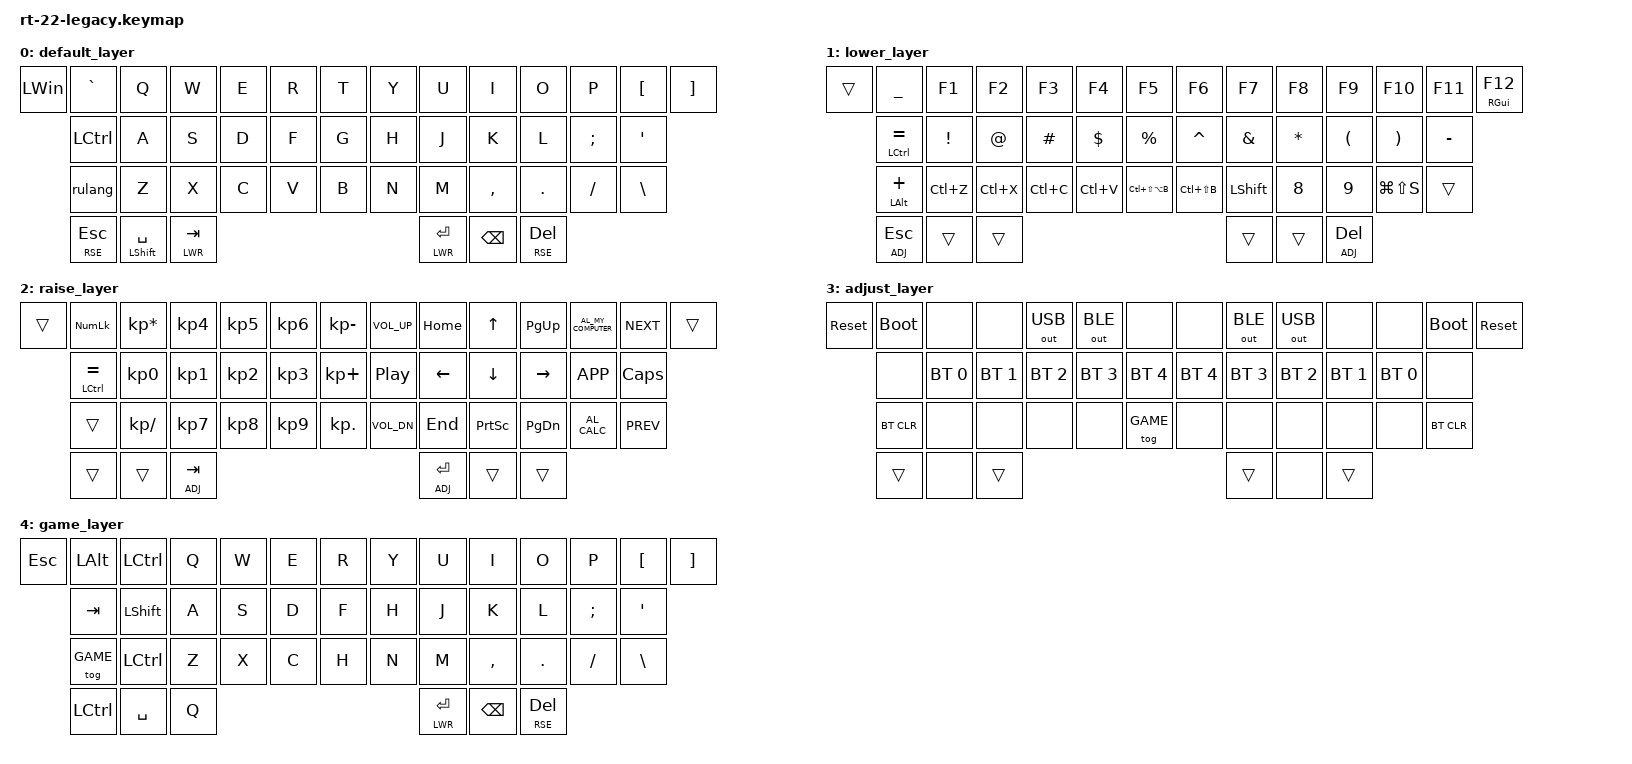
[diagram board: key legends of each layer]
/*
 * Copyright (c) 2021 The ZMK Contributors
 *
 * SPDX-License-Identifier: MIT
 */

#include <behaviors.dtsi>
#include <dt-bindings/zmk/keys.h>
#include <dt-bindings/zmk/bt.h>
#include <dt-bindings/zmk/outputs.h>

#define DEF 0
#define LWR 1
#define RSE 2
#define ADJ 3
#define GAME 4

&lt { quick_tap_ms = <200>; };
&mt { quick_tap_ms = <200>; };

/ {
        behaviors {
                rulang: russian_language {
                compatible = "zmk,behavior-mod-morph";
                label = "RUS_LANG";
                #binding-cells = <0>;
                bindings = <&kp LALT>, <&kp LC(N1)>;
                mods = <(LSHIFT|RSHIFT)>;
                keep-mods = <(LSHIFT|RSHIFT)>;
                };
        };
        combos {
                compatible = "zmk,combos";
                combo_eng {
                    timeout-ms = <200>;
                    key-positions = <37 42>;
                    layers = <DEF>;
                    bindings = <&kp LC(LS(N2))>;
                };
        };
        keymap {
                compatible = "zmk,keymap";

                default_layer {
// -----------------------------------------------------------------------------------------
// |  GUI |   ~  |  Q  |  W  |  E  |  R  |  T  |   |  Y  |  U   |  I  |  O  |  P  |  [   |  ]  |
//        | CTRL |  A  |  S  |  D  |  F  |  G  |   |  H  |  J   |  K  |  L  |  ;  |  '   |
//        | LALT |  Z  |  X  |  C  |  V  |  B  |   |  N  |  M   |  ,  |  .  |  /  | \ |
//                    | ESC | SPC | TAB |   | ENT | BSPC | DEL |
                        bindings = <
   &kp LWIN &kp GRAVE &kp Q &kp W &kp E &kp R &kp T         &kp Y &kp U  &kp I     &kp O   &kp P    &kp LBKT  &kp RBKT
            &kp LCTRL &kp A &kp S &kp D &kp F &kp G         &kp H &kp J  &kp K     &kp L   &kp SEMI &kp SQT
            &rulang   &kp Z &kp X &kp C &kp V &kp B         &kp N &kp M  &kp COMMA &kp DOT &kp FSLH &kp BSLH
            &lt RSE ESC &mt LSHFT SPACE &lt LWR TAB         &lt LWR RET &kp BSPC &lt RSE DEL
                        >;
                };
                lower_layer {
// -----------------------------------------------------------------------------------------
// |     |  _  |  F1 |  F2 |  F3 |  F4 |  F5 |   |  F6 |  F7 |  F8 |  F9 | F10  | F11 | F12 |
//       |  =  |  !  |  @  |  #  |  $  |  %  |   |  ^  |  &  |  *  |  (  |  )   |  -  |
//       |  +  |     |     |     |     |  RD |   |  RD |SHIFT|     |     |SCREEN|     |
//                   | GUI |     | SPC |         | ENT |     | ALT |
                       bindings = <
   &trans &kp UNDER       &kp F1    &kp F2    &kp F3      &kp F4    &kp F5               &kp F6        &kp F7    &kp F8   &kp F9   &kp F10       &kp F11   &mt RGUI F12
          &mt LCTRL EQUAL &kp EXCL  &kp AT    &kp HASH    &kp DLLR  &kp PRCNT            &kp CARET     &kp AMPS  &kp STAR &kp LPAR &kp RPAR      &kp MINUS
          &mt LALT PLUS   &kp LC(Z) &kp LC(X) &kp LC(C)   &kp LC(V) &kp LC(LS(LA(B)))    &kp LC(LS(B)) &kp LSHFT &kp N8   &kp N9   &kp LG(LS(S)) &trans
                                              &lt ADJ ESC &trans    &trans               &trans        &trans    &lt ADJ DEL
                       >;
                };
                raise_layer {
// -----------------------------------------------------------------------------------------
// |     | NMLK |  *  |  4  |  5  |  6  |  -  |   | VOLU| HOME| UP  | PGUP |MYCOMP| NEXT |     |
//       |   =  |  0  |  1  |  2  |  3  |  +  |   |PAUSE| LEFT| DOWN| RGHT | APP  | CAPS |
//       |      |  /  |  7  |  8  |  9  |  .  |   | VOLD| END | PRSC| PGDN | CALC | PREV |
//                          |     |     | ADJ |   | ADJ |     |     |
                        bindings = <       
   &trans &kp KP_NUM      &kp KP_MULTIPLY &kp KP_N4 &kp KP_N5 &kp KP_N6 &kp KP_MINUS        &kp C_VOL_UP &kp HOME &kp UP    &kp PG_UP &kp C_AL_MY_COMPUTER &kp C_NEXT &trans
          &mt LCTRL EQUAL &kp KP_N0       &kp KP_N1 &kp KP_N2 &kp KP_N3 &kp KP_PLUS         &kp C_PP     &kp LEFT &kp DOWN  &kp RIGHT &kp K_APP            &kp CAPS
          &trans          &kp KP_SLASH    &kp KP_N7 &kp KP_N8 &kp KP_N9 &kp KP_DOT          &kp C_VOL_DN &kp END  &kp PSCRN &kp PG_DN &kp C_AL_CALC        &kp C_PREV
                                                    &trans    &trans    &lt ADJ TAB         &lt ADJ RET  &trans   &trans
                        >;
                };
                adjust_layer {
// -----------------------------------------------------------------------------------------
// | RST | BLDR |     |     | USB | BLE |     |   |     | BLE | USB |     |     | BLDR | RST |
//       |      | BT0 | BT1 | BT2 | BT3 | BT4 |   | BT4 | BT3 | BT2 | BT1 | BT0 |      |
//       | BTCLR|     |     |     |     |     |   |     |     |     |     |     | BTCLR|
//                          |     |     |     |   |     |     |     |
                        bindings = <              
   &sys_reset &bootloader  &none        &none        &out OUT_USB &out OUT_BLE &none           &none        &out OUT_BLE &out OUT_USB &none        &none         &bootloader &sys_reset
          &none        &bt BT_SEL 0 &bt BT_SEL 1 &bt BT_SEL 2 &bt BT_SEL 3 &bt BT_SEL 4    &bt BT_SEL 4 &bt BT_SEL 3 &bt BT_SEL 2 &bt BT_SEL 1 &bt BT_SEL 0  &none
          &bt BT_CLR   &none        &none        &none        &none        &tog GAME       &none        &none        &none        &none        &none         &bt BT_CLR
                                                 &trans       &none        &trans          &trans       &none        &trans
                        >;
                };
                game_layer {
// -----------------------------------------------------------------------------------------
// |  GUI |   ~  |  Q  |  W  |  E  |  R  |  T  |   |  Y  |  U   |  I  |  O  |  P  |  [   |  ]  |
//        | CTRL |  A  |  S  |  D  |  F  |  G  |   |  H  |  J   |  K  |  L  |  ;  |  '   |
//        | LALT |  Z  |  X  |  C  |  V  |  B  |   |  N  |  M   |  ,  |  .  |  /  | \ |
//                    | ESC | SPC | TAB |   | ENT | BSPC | DEL |
                        bindings = <
   &kp ESC  &kp LALT  &kp LCTRL &kp Q &kp W &kp E &kp R         &kp Y &kp U  &kp I     &kp O   &kp P    &kp LBKT  &kp RBKT
            &kp TAB   &kp LSHFT &kp A &kp S &kp D &kp F         &kp H &kp J  &kp K     &kp L   &kp SEMI &kp SQT
            &tog GAME &kp LCTRL &kp Z &kp X &kp C &kp H         &kp N &kp M  &kp COMMA &kp DOT &kp FSLH &kp BSLH
                              &kp LCTRL &kp SPACE &kp Q         &lt LWR RET &kp BSPC &lt RSE DEL
                        >;
                };
        };
};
